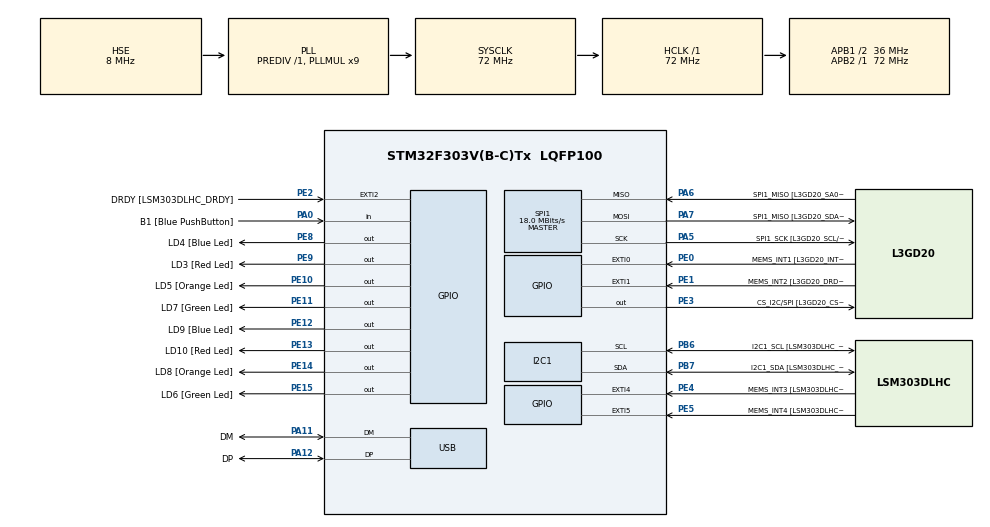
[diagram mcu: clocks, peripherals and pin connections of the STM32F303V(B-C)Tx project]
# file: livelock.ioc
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FREERTOS.Tasks01=defaultTask,0,128,StartDefaultTask,Default,NULL
I2C1.Timing-I2C=0x2000090E
Mcu.Family=STM32F3
Mcu.Name=STM32F303V(B-C)Tx
Mcu.Package=LQFP100
NVIC.PriorityGroup=NVIC_PRIORITYGROUP_4
NVIC.TIM2_IRQn=true\:0\:0\:false\:false\:true\:false\:false
NVIC.TimeBase=TIM2_IRQn
NVIC.TimeBaseIP=TIM2
PA0.GPIO_Label=B1 [Blue PushButton]
PA0.Signal=GPIO_Input
PA11.GPIO_Label=DM
PA11.Mode=Device
PA11.Signal=USB_DM
PA12.GPIO_Label=DP
PA12.Mode=Device
PA12.Signal=USB_DP
PA13.GPIO_Label=SWDIO
PA13.Mode=Serial_Wire
PA13.Signal=SYS_JTMS-SWDIO
PA14.GPIO_Label=SWCLK
PA14.Mode=Serial_Wire
PA14.Signal=SYS_JTCK-SWCLK
PA5.GPIO_Label=SPI1_SCK [L3GD20_SCL/SPC]
PA5.Mode=Full_Duplex_Master
PA5.Signal=SPI1_SCK
PA6.GPIO_Label=SPI1_MISO [L3GD20_SA0/SDO]
PA6.Mode=Full_Duplex_Master
PA6.Signal=SPI1_MISO
PA7.GPIO_Label=SPI1_MISO [L3GD20_SDA/SDI/SDO]
PA7.Mode=Full_Duplex_Master
PA7.Signal=SPI1_MOSI
PB3.GPIO_Label=SWO
PB3.Signal=SYS_JTDO-TRACESWO
PB6.GPIO_Label=I2C1_SCL [LSM303DLHC_SCL]
PB6.Mode=I2C
PB6.Signal=I2C1_SCL
PB7.GPIO_Label=I2C1_SDA [LSM303DLHC_SDA]
PB7.Mode=I2C
PB7.Signal=I2C1_SDA
PC14-OSC32_IN.GPIO_Label=OSC32_IN
PC14-OSC32_IN.Signal=RCC_OSC32_IN
PC15-OSC32_OUT.GPIO_Label=OSC32_OUT
PC15-OSC32_OUT.Signal=RCC_OSC32_OUT
PE0.GPIO_Label=MEMS_INT1 [L3GD20_INT1]
PE0.GPIO_ModeDefaultEXTI=GPIO_MODE_EVT_RISING
PE0.Signal=GPXTI0
PE1.GPIO_Label=MEMS_INT2 [L3GD20_DRDY/INT2]
PE1.GPIO_ModeDefaultEXTI=GPIO_MODE_EVT_RISING
PE1.Signal=GPXTI1
PE10.GPIO_Label=LD5 [Orange Led]
PE10.Signal=GPIO_Output
PE11.GPIO_Label=LD7 [Green Led]
PE11.Signal=GPIO_Output
PE12.GPIO_Label=LD9 [Blue Led]
PE12.Signal=GPIO_Output
PE13.GPIO_Label=LD10 [Red Led]
PE13.Signal=GPIO_Output
PE14.GPIO_Label=LD8 [Orange Led]
PE14.Signal=GPIO_Output
PE15.GPIO_Label=LD6 [Green Led]
PE15.Signal=GPIO_Output
PE2.GPIO_Label=DRDY [LSM303DLHC_DRDY]
PE2.GPIO_ModeDefaultEXTI=GPIO_MODE_EVT_RISING
PE2.Signal=GPXTI2
PE3.GPIO_Label=CS_I2C/SPI [L3GD20_CS_I2C/SPI]
PE3.Signal=GPIO_Output
PE4.GPIO_Label=MEMS_INT3 [LSM303DLHC_INT1]
PE4.GPIO_ModeDefaultEXTI=GPIO_MODE_EVT_RISING
PE4.Signal=GPXTI4
PE5.GPIO_Label=MEMS_INT4 [LSM303DLHC_INT2]
PE5.GPIO_ModeDefaultEXTI=GPIO_MODE_EVT_RISING
PE5.Signal=GPXTI5
PE8.GPIO_Label=LD4 [Blue Led]
PE8.Signal=GPIO_Output
PE9.GPIO_Label=LD3 [Red Led]
PE9.Signal=GPIO_Output
PF0-OSC_IN.GPIO_Label=OSC_IN
PF0-OSC_IN.Mode=HSE-External-Clock-Source
PF0-OSC_IN.Signal=RCC_OSC_IN
PF1-OSC_OUT.GPIO_Label=OSC_OUT
PF1-OSC_OUT.Signal=RCC_OSC_OUT
ProjectManager.HeapSize=0x200
ProjectManager.StackSize=0x400
ProjectManager.TargetToolchain=MDK-ARM V5
RCC.AHBFreq_Value=72000000
RCC.APB1CLKDivider=RCC_HCLK_DIV2
RCC.APB1Freq_Value=36000000
RCC.APB1TimFreq_Value=72000000
RCC.APB2Freq_Value=72000000
RCC.APB2TimFreq_Value=72000000
RCC.CortexFreq_Value=72000000
RCC.HCLKFreq_Value=72000000
RCC.HSE_VALUE=8000000
RCC.HSI_VALUE=8000000
RCC.LSE_VALUE=32768
RCC.PLLMUL=RCC_PLL_MUL9
RCC.PRESCALERUSB=RCC_USBCLKSOURCE_PLL_DIV1_5
RCC.SYSCLKFreq_VALUE=72000000
RCC.SYSCLKSourceVirtual=RCC_SYSCLKSOURCE_PLLCLK
RCC.USBFreq_Value=48000000
SPI1.BaudRatePrescaler=SPI_BAUDRATEPRESCALER_4
SPI1.BaudRatePrescaler-Full_Duplex_Master=SPI_BAUDRATEPRESCALER_2
SPI1.CalculateBaudRate=18.0 MBits/s
SPI1.CalculateBaudRate-Full_Duplex_Master=24.0 MBits/s
SPI1.Direction=SPI_DIRECTION_2LINES
SPI1.Mode=SPI_MODE_MASTER
SPI1.Mode-Full_Duplex_Master=SPI_MODE_MASTER
SPI1.VirtualType=VM_MASTER
VP_FREERTOS_VS_ENABLE.Mode=Enabled
VP_SYS_VS_tim2.Mode=TIM2
board=STM32F3DISCOVERY

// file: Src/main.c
/**
  ******************************************************************************
  * @file           : main.c
  * @brief          : Main program body
  ******************************************************************************
  * This notice applies to any and all portions of this file
  * that are not between comment pairs USER CODE BEGIN and
  * USER CODE END. Other portions of this file, whether
  * inserted by the user or by software development tools
  * are owned by their respective copyright owners.
  *
  * Copyright (c) 2018 STMicroelectronics International N.V.
  * All rights reserved.
  *
  * Redistribution and use in source and binary forms, with or without
  * modification, are permitted, provided that the following conditions are met:
  *
  * 1. Redistribution of source code must retain the above copyright notice,
  *    this list of conditions and the following disclaimer.
  * 2. Redistributions in binary form must reproduce the above copyright notice,
  *    this list of conditions and the following disclaimer in the documentation
  *    and/or other materials provided with the distribution.
  * 3. Neither the name of STMicroelectronics nor the names of other
  *    contributors to this software may be used to endorse or promote products
  *    derived from this software without specific written permission.
  * 4. This software, including modifications and/or derivative works of this
  *    software, must execute solely and exclusively on microcontroller or
  *    microprocessor devices manufactured by or for STMicroelectronics.
  * 5. Redistribution and use of this software other than as permitted under
  *    this license is void and will automatically terminate your rights under
  *    this license.
  *
  * THIS SOFTWARE IS PROVIDED BY STMICROELECTRONICS AND CONTRIBUTORS "AS IS"
  * AND ANY EXPRESS, IMPLIED OR STATUTORY WARRANTIES, INCLUDING, BUT NOT
  * LIMITED TO, THE IMPLIED WARRANTIES OF MERCHANTABILITY, FITNESS FOR A
  * PARTICULAR PURPOSE AND NON-INFRINGEMENT OF THIRD PARTY INTELLECTUAL PROPERTY
  * RIGHTS ARE DISCLAIMED TO THE FULLEST EXTENT PERMITTED BY LAW. IN NO EVENT
  * SHALL STMICROELECTRONICS OR CONTRIBUTORS BE LIABLE FOR ANY DIRECT, INDIRECT,
  * INCIDENTAL, SPECIAL, EXEMPLARY, OR CONSEQUENTIAL DAMAGES (INCLUDING, BUT NOT
  * LIMITED TO, PROCUREMENT OF SUBSTITUTE GOODS OR SERVICES; LOSS OF USE, DATA,
  * OR PROFITS; OR BUSINESS INTERRUPTION) HOWEVER CAUSED AND ON ANY THEORY OF
  * LIABILITY, WHETHER IN CONTRACT, STRICT LIABILITY, OR TORT (INCLUDING
  * NEGLIGENCE OR OTHERWISE) ARISING IN ANY WAY OUT OF THE USE OF THIS SOFTWARE,
  * EVEN IF ADVISED OF THE POSSIBILITY OF SUCH DAMAGE.
  *
  ******************************************************************************
  */
#include "main.h"
#include "stm32f3xx_hal.h"
#include "cmsis_os.h"

I2C_HandleTypeDef hi2c1;

SPI_HandleTypeDef hspi1;

PCD_HandleTypeDef hpcd_USB_FS;

osThreadId defaultTaskHandle;

/* USER CODE BEGIN PV */
/* Private variables ---------------------------------------------------------*/
uint8_t count;
TaskHandle_t xUpperLowerHandle;
TaskHandle_t xLowerUpperHandle;
StaticTask_t xTaskBuffer;
StackType_t xTaskStack[100];
SemaphoreHandle_t xSemaphoreRes1;
SemaphoreHandle_t xSemaphoreRes2;
/* USER CODE END PV */

void SystemClock_Config(void);
static void MX_GPIO_Init(void);
static void MX_I2C1_Init(void);
static void MX_SPI1_Init(void);
static void MX_USB_PCD_Init(void);
void StartDefaultTask(void const * argument);

/* USER CODE BEGIN PFP */
/* Private function prototypes -----------------------------------------------*/
void vApplicationIdleHook(void);
/* USER CODE END PFP */

/* USER CODE BEGIN 0 */
static void resource1(void)
{

	if (xSemaphoreTake(xSemaphoreRes1, 10) == pdTRUE) {
		vTaskDelay(1000);
		HAL_GPIO_WritePin(LD3_GPIO_Port, (LD8_Pin | LD9_Pin | LD10_Pin), GPIO_PIN_SET);
		vTaskDelay(1000);
		HAL_GPIO_WritePin(LD3_GPIO_Port, (LD8_Pin | LD9_Pin | LD10_Pin), GPIO_PIN_RESET);
		xSemaphoreGive(xSemaphoreRes1);
	}
}

static void resource2(void)
{
		for (;;){
			if (xSemaphoreTake(xSemaphoreRes2, 10) == pdTRUE) {

					HAL_GPIO_WritePin(LD3_GPIO_Port, (LD3_Pin | LD4_Pin | LD5_Pin | LD6_Pin | LD7_Pin ), GPIO_PIN_SET);
					vTaskDelay(1000);
					HAL_GPIO_WritePin(LD3_GPIO_Port, (LD3_Pin | LD4_Pin | LD5_Pin | LD6_Pin | LD7_Pin ), GPIO_PIN_RESET);
					vTaskDelay(1000);
				xSemaphoreGive(xSemaphoreRes2);
			}
	}
}
static void vUpperLower(void *pvParameters)
{
	for (;;) {
		resource2();
		resource1();
	}
}

static void vLowerUpper(void *pvParameters)
{
	for (;;){
		resource1();
		resource2();
	}
}

/* USER CODE END 0 */

int main(void)
{

  /* MCU Configuration----------------------------------------------------------*/

  /* Reset of all peripherals, Initializes the Flash interface and the Systick. */
  HAL_Init();

  /* Configure the system clock */
  SystemClock_Config();

  /* Initialize all configured peripherals */
  MX_GPIO_Init();
  MX_I2C1_Init();
  MX_SPI1_Init();
  MX_USB_PCD_Init();

  /* Create the thread (s) */
  /* definition and creation of defaultTask */
  osThreadDef(defaultTask, StartDefaultTask, osPriorityNormal, 0, 128);
  defaultTaskHandle = osThreadCreate(osThread(defaultTask), NULL);

  /* USER CODE BEGIN RTOS_THREADS */
  /* add threads, ... */
	xSemaphoreRes1 = xSemaphoreCreateMutex();
	xSemaphoreRes2 = xSemaphoreCreateMutex();

	if (xTaskCreate(vLowerUpper, "res", 100, NULL, 2,&xLowerUpperHandle) == pdPASS)

	vTaskPrioritySet(xLowerUpperHandle, 0);

	if (xTaskCreate(vUpperLower, "LedBlinkHalf", 100, NULL, 0,&xUpperLowerHandle) == pdPASS)

	vTaskPrioritySet(xUpperLowerHandle, 1);

  /* USER CODE END RTOS_THREADS */

  /* Start scheduler */
  osKernelStart();

  /* We should never get here as control is now taken by the scheduler */

  /* Infinite loop */
  while (1)
  {

  }

}

void SystemClock_Config(void)
{

  RCC_OscInitTypeDef RCC_OscInitStruct;
  RCC_ClkInitTypeDef RCC_ClkInitStruct;
  RCC_PeriphCLKInitTypeDef PeriphClkInit;

    /**Initializes the CPU, AHB and APB busses clocks
    */
  RCC_OscInitStruct.OscillatorType = RCC_OSCILLATORTYPE_HSI|RCC_OSCILLATORTYPE_HSE;
  RCC_OscInitStruct.HSEState = RCC_HSE_BYPASS;
  RCC_OscInitStruct.HSEPredivValue = RCC_HSE_PREDIV_DIV1;
  RCC_OscInitStruct.HSIState = RCC_HSI_ON;
  RCC_OscInitStruct.HSICalibrationValue = 16;
  RCC_OscInitStruct.PLL.PLLState = RCC_PLL_ON;
  RCC_OscInitStruct.PLL.PLLSource = RCC_PLLSOURCE_HSE;
  RCC_OscInitStruct.PLL.PLLMUL = RCC_PLL_MUL9;
  if (HAL_RCC_OscConfig(&RCC_OscInitStruct) != HAL_OK)
  {
    _Error_Handler(__FILE__, __LINE__);
  }

    /**Initializes the CPU, AHB and APB busses clocks
    */
  RCC_ClkInitStruct.ClockType = RCC_CLOCKTYPE_HCLK|RCC_CLOCKTYPE_SYSCLK
                              |RCC_CLOCKTYPE_PCLK1|RCC_CLOCKTYPE_PCLK2;
  RCC_ClkInitStruct.SYSCLKSource = RCC_SYSCLKSOURCE_PLLCLK;
  RCC_ClkInitStruct.AHBCLKDivider = RCC_SYSCLK_DIV1;
  RCC_ClkInitStruct.APB1CLKDivider = RCC_HCLK_DIV2;
  RCC_ClkInitStruct.APB2CLKDivider = RCC_HCLK_DIV1;

  if (HAL_RCC_ClockConfig(&RCC_ClkInitStruct, FLASH_LATENCY_2) != HAL_OK)
  {
    _Error_Handler(__FILE__, __LINE__);
  }

  PeriphClkInit.PeriphClockSelection = RCC_PERIPHCLK_USB|RCC_PERIPHCLK_I2C1;
  PeriphClkInit.I2c1ClockSelection = RCC_I2C1CLKSOURCE_HSI;
  PeriphClkInit.USBClockSelection = RCC_USBCLKSOURCE_PLL_DIV1_5;
  if (HAL_RCCEx_PeriphCLKConfig(&PeriphClkInit) != HAL_OK)
  {
    _Error_Handler(__FILE__, __LINE__);
  }

    /**Configure the Systick interrupt time
    */
  HAL_SYSTICK_Config(HAL_RCC_GetHCLKFreq()/1000);

    /**Configure the Systick
    */
  HAL_SYSTICK_CLKSourceConfig(SYSTICK_CLKSOURCE_HCLK);

  /* SysTick_IRQn interrupt configuration */
  HAL_NVIC_SetPriority(SysTick_IRQn, 15, 0);
}

/* I2C1 init function */
static void MX_I2C1_Init(void)
{

  hi2c1.Instance = I2C1;
  hi2c1.Init.Timing = 0x2000090E;
  hi2c1.Init.OwnAddress1 = 0;
  hi2c1.Init.AddressingMode = I2C_ADDRESSINGMODE_7BIT;
  hi2c1.Init.DualAddressMode = I2C_DUALADDRESS_DISABLE;
  hi2c1.Init.OwnAddress2 = 0;
  hi2c1.Init.OwnAddress2Masks = I2C_OA2_NOMASK;
  hi2c1.Init.GeneralCallMode = I2C_GENERALCALL_DISABLE;
  hi2c1.Init.NoStretchMode = I2C_NOSTRETCH_DISABLE;
  if (HAL_I2C_Init(&hi2c1) != HAL_OK)
  {
    _Error_Handler(__FILE__, __LINE__);
  }

    /**Configure Analogue filter
    */
  if (HAL_I2CEx_ConfigAnalogFilter(&hi2c1, I2C_ANALOGFILTER_ENABLE) != HAL_OK)
  {
    _Error_Handler(__FILE__, __LINE__);
  }

    /**Configure Digital filter
    */
  if (HAL_I2CEx_ConfigDigitalFilter(&hi2c1, 0) != HAL_OK)
  {
    _Error_Handler(__FILE__, __LINE__);
  }

}

/* SPI1 init function */
static void MX_SPI1_Init(void)
{

  /* SPI1 parameter configuration*/
  hspi1.Instance = SPI1;
  hspi1.Init.Mode = SPI_MODE_MASTER;
  hspi1.Init.Direction = SPI_DIRECTION_2LINES;
  hspi1.Init.DataSize = SPI_DATASIZE_4BIT;
  hspi1.Init.CLKPolarity = SPI_POLARITY_LOW;
  hspi1.Init.CLKPhase = SPI_PHASE_1EDGE;
  hspi1.Init.NSS = SPI_NSS_SOFT;
  hspi1.Init.BaudRatePrescaler = SPI_BAUDRATEPRESCALER_4;
  hspi1.Init.FirstBit = SPI_FIRSTBIT_MSB;
  hspi1.Init.TIMode = SPI_TIMODE_DISABLE;
  hspi1.Init.CRCCalculation = SPI_CRCCALCULATION_DISABLE;
  hspi1.Init.CRCPolynomial = 7;
  hspi1.Init.CRCLength = SPI_CRC_LENGTH_DATASIZE;
  hspi1.Init.NSSPMode = SPI_NSS_PULSE_ENABLE;
  if (HAL_SPI_Init(&hspi1) != HAL_OK)
  {
    _Error_Handler(__FILE__, __LINE__);
  }

}

/* USB init function */
static void MX_USB_PCD_Init(void)
{

  hpcd_USB_FS.Instance = USB;
  hpcd_USB_FS.Init.dev_endpoints = 8;
  hpcd_USB_FS.Init.speed = PCD_SPEED_FULL;
  hpcd_USB_FS.Init.ep0_mps = DEP0CTL_MPS_64;
  hpcd_USB_FS.Init.phy_itface = PCD_PHY_EMBEDDED;
  hpcd_USB_FS.Init.low_power_enable = DISABLE;
  hpcd_USB_FS.Init.battery_charging_enable = DISABLE;
  if (HAL_PCD_Init(&hpcd_USB_FS) != HAL_OK)
  {
    _Error_Handler(__FILE__, __LINE__);
  }

}

/** Configure pins as
        * Analog
        * Input
        * Output
        * EVENT_OUT
        * EXTI
*/
static void MX_GPIO_Init(void)
{

  GPIO_InitTypeDef GPIO_InitStruct;

  /* GPIO Ports Clock Enable */
  __HAL_RCC_GPIOE_CLK_ENABLE();
  __HAL_RCC_GPIOC_CLK_ENABLE();
  __HAL_RCC_GPIOF_CLK_ENABLE();
  __HAL_RCC_GPIOA_CLK_ENABLE();
  __HAL_RCC_GPIOB_CLK_ENABLE();

  /*Configure GPIO pin Output Level */
  HAL_GPIO_WritePin(GPIOE, CS_I2C_SPI_Pin|LD4_Pin|LD3_Pin|LD5_Pin
                          |LD7_Pin|LD9_Pin|LD10_Pin|LD8_Pin
                          |LD6_Pin, GPIO_PIN_RESET);

  /*Configure GPIO pins : DRDY_Pin MEMS_INT3_Pin MEMS_INT4_Pin MEMS_INT1_Pin
                           MEMS_INT2_Pin */
  GPIO_InitStruct.Pin = DRDY_Pin|MEMS_INT3_Pin|MEMS_INT4_Pin|MEMS_INT1_Pin
                          |MEMS_INT2_Pin;
  GPIO_InitStruct.Mode = GPIO_MODE_EVT_RISING;
  GPIO_InitStruct.Pull = GPIO_NOPULL;
  HAL_GPIO_Init(GPIOE, &GPIO_InitStruct);

  /*Configure GPIO pins : CS_I2C_SPI_Pin LD4_Pin LD3_Pin LD5_Pin
                           LD7_Pin LD9_Pin LD10_Pin LD8_Pin
                           LD6_Pin */
  GPIO_InitStruct.Pin = CS_I2C_SPI_Pin|LD4_Pin|LD3_Pin|LD5_Pin
                          |LD7_Pin|LD9_Pin|LD10_Pin|LD8_Pin
                          |LD6_Pin;
  GPIO_InitStruct.Mode = GPIO_MODE_OUTPUT_PP;
  GPIO_InitStruct.Pull = GPIO_NOPULL;
  GPIO_InitStruct.Speed = GPIO_SPEED_FREQ_LOW;
  HAL_GPIO_Init(GPIOE, &GPIO_InitStruct);

  /*Configure GPIO pin : B1_Pin */
  GPIO_InitStruct.Pin = B1_Pin;
  GPIO_InitStruct.Mode = GPIO_MODE_INPUT;
  GPIO_InitStruct.Pull = GPIO_NOPULL;
  HAL_GPIO_Init(B1_GPIO_Port, &GPIO_InitStruct);

}

void StartDefaultTask(void const * argument)
{

  for(;;)
  {
    osDelay(1);
  }
}

void HAL_TIM_PeriodElapsedCallback(TIM_HandleTypeDef *htim)
{
  if (htim->Instance == TIM2) {
    HAL_IncTick();
  }
}

void _Error_Handler(char *file, int line)
{
  while(1)
  {
  }
}

/************************ (C) COPYRIGHT STMicroelectronics *****END OF FILE****/
